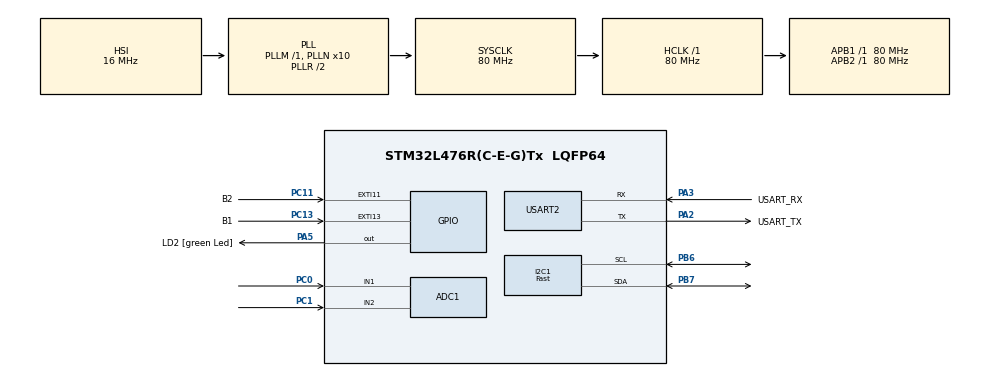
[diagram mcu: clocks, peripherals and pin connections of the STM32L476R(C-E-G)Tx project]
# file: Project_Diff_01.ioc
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ADC1.Channel-0\#ChannelRegularConversion=ADC_CHANNEL_1
ADC1.Channel-1\#ChannelRegularConversion=ADC_CHANNEL_1
ADC1.NbrOfConversion=2
ADC1.NbrOfConversionFlag=1
ADC1.OffsetNumber-0\#ChannelRegularConversion=ADC_OFFSET_NONE
ADC1.OffsetNumber-1\#ChannelRegularConversion=ADC_OFFSET_NONE
ADC1.Rank-0\#ChannelRegularConversion=1
ADC1.Rank-1\#ChannelRegularConversion=2
ADC1.SamplingTime-0\#ChannelRegularConversion=ADC_SAMPLETIME_2CYCLES_5
ADC1.SamplingTime-1\#ChannelRegularConversion=ADC_SAMPLETIME_2CYCLES_5
ADC1.SingleDiff-0\#ChannelRegularConversion=ADC_DIFFERENTIAL_ENDED
ADC1.SingleDiff-1\#ChannelRegularConversion=ADC_DIFFERENTIAL_ENDED
ADC1.master=1
Dma.I2C1_TX.0.Direction=DMA_MEMORY_TO_PERIPH
Dma.I2C1_TX.0.Instance=DMA1_Channel6
Dma.I2C1_TX.0.MemDataAlignment=DMA_MDATAALIGN_BYTE
Dma.I2C1_TX.0.MemInc=DMA_MINC_ENABLE
Dma.I2C1_TX.0.Mode=DMA_NORMAL
Dma.I2C1_TX.0.PeriphDataAlignment=DMA_PDATAALIGN_BYTE
Dma.I2C1_TX.0.PeriphInc=DMA_PINC_DISABLE
Dma.I2C1_TX.0.Priority=DMA_PRIORITY_LOW
Dma.Request0=I2C1_TX
I2C1.I2C_Speed_Mode=I2C_Fast
I2C1.Timing=0x00702991
Mcu.Family=STM32L4
Mcu.Name=STM32L476R(C-E-G)Tx
Mcu.Package=LQFP64
NVIC.DMA1_Channel6_IRQn=true\:0\:0\:false\:false\:true\:false\:true
NVIC.EXTI15_10_IRQn=true\:0\:0\:false\:false\:true\:true\:true
NVIC.I2C1_EV_IRQn=true\:0\:0\:false\:false\:true\:true\:true
NVIC.PriorityGroup=NVIC_PRIORITYGROUP_4
NVIC.TIM6_DAC_IRQn=true\:6\:0\:true\:false\:true\:true\:true
PA13\ (JTMS-SWDIO).GPIO_Label=TMS
PA13\ (JTMS-SWDIO).Mode=Serial_Wire
PA13\ (JTMS-SWDIO).Signal=SYS_JTMS-SWDIO
PA14\ (JTCK-SWCLK).GPIO_Label=TCK
PA14\ (JTCK-SWCLK).Mode=Serial_Wire
PA14\ (JTCK-SWCLK).Signal=SYS_JTCK-SWCLK
PA2.GPIO_Label=USART_TX
PA2.GPIO_Mode=GPIO_MODE_AF_PP
PA2.GPIO_PuPd=GPIO_NOPULL
PA2.GPIO_Speed=GPIO_SPEED_FREQ_VERY_HIGH
PA2.Mode=Asynchronous
PA2.Signal=USART2_TX
PA3.GPIO_Label=USART_RX
PA3.GPIO_Mode=GPIO_MODE_AF_PP
PA3.GPIO_PuPd=GPIO_NOPULL
PA3.GPIO_Speed=GPIO_SPEED_FREQ_VERY_HIGH
PA3.Mode=Asynchronous
PA3.Signal=USART2_RX
PA5.GPIO_Label=LD2 [green Led]
PA5.GPIO_ModeDefaultOutputPP=GPIO_MODE_OUTPUT_PP
PA5.GPIO_PuPd=GPIO_NOPULL
PA5.GPIO_Speed=GPIO_SPEED_FREQ_LOW
PA5.Signal=GPIO_Output
PB3\ (JTDO-TRACESWO).GPIO_Label=SWO
PB3\ (JTDO-TRACESWO).Signal=SYS_JTDO-SWO
PB6.GPIO_Pu=GPIO_NOPULL
PB6.Mode=I2C
PB6.Signal=I2C1_SCL
PB7.Mode=I2C
PB7.Signal=I2C1_SDA
PC0.Signal=ADCx_IN1
PC1.Signal=ADCx_IN2
PC11.GPIO_Label=B2
PC11.GPIO_ModeDefaultEXTI=GPIO_MODE_IT_FALLING
PC11.Signal=GPXTI11
PC13.GPIO_Label=B1
PC13.GPIO_ModeDefaultEXTI=GPIO_MODE_IT_FALLING
PC13.GPIO_PuPd=GPIO_NOPULL
PC13.Signal=GPXTI13
PC14-OSC32_IN\ (PC14).Mode=LSE-External-Oscillator
PC14-OSC32_IN\ (PC14).Signal=RCC_OSC32_IN
PC15-OSC32_OUT\ (PC15).Mode=LSE-External-Oscillator
PC15-OSC32_OUT\ (PC15).Signal=RCC_OSC32_OUT
PH0-OSC_IN\ (PH0).Signal=RCC_OSC_IN
PH1-OSC_OUT\ (PH1).Signal=RCC_OSC_OUT
ProjectManager.HeapSize=0x200
ProjectManager.StackSize=0x400
ProjectManager.TargetToolchain=STM32CubeIDE
RCC.ADCFreq_Value=64000000
RCC.AHBFreq_Value=80000000
RCC.APB1Freq_Value=80000000
RCC.APB1TimFreq_Value=80000000
RCC.APB2Freq_Value=80000000
RCC.APB2TimFreq_Value=80000000
RCC.CortexFreq_Value=80000000
RCC.HCLKFreq_Value=80000000
RCC.HSE_VALUE=8000000
RCC.HSI_VALUE=16000000
RCC.MSI_VALUE=4000000
RCC.PLLN=10
RCC.PLLSourceVirtual=RCC_PLLSOURCE_HSI
RCC.PREFETCH_ENABLE=1
RCC.SYSCLKFreq_VALUE=80000000
RCC.SYSCLKSource=RCC_SYSCLKSOURCE_PLLCLK
RCC.USBFreq_Value=64000000
RCC.VCOOutputFreq_Value=160000000
SH.ADCx_IN1.0=ADC1_IN1,IN1-Differential
SH.ADCx_IN2.0=ADC1_IN2,IN1-Differential
TIM6.Period=9999
TIM6.Prescaler=7999
USART2.VirtualMode-Asynchronous=VM_ASYNC
VP_TIM6_VS_ClockSourceINT.Mode=Enable_Timer
board=NUCLEO-L476RG

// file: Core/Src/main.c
/* USER CODE BEGIN Header */
/**
  ******************************************************************************
  * @file           : main.c
  * @brief          : Main program body
  ******************************************************************************
  * @attention
  * PMIK 2021Z Projekt
  * Maksym Khachapuridze
  *
  * Opis projektu:
  *
  * Projekt magnetometru
  * Układ sluzy do wykonywania i rejestracji pola magnetycznego.
  * Zostanie zrealizowany w przenosnej formie przy pomocy mikrokontrolera stm32L476RG.
  * Uklad wykonuje pomiar pola magnetycznego metodą pomiarową różnicową i wyswietla wyniki na zywo na ekranie.
  * Posiada rowniez mozliwosc przeslania zebranych pomiarow do komputera za pomocą interfejsu UART
  * pomiar można zatrzymać opcją pauzy oraz wyczyścić zapisane dane.
  * Sterowanie ukłądem jest oparte na 2 przyciskach
  *
  *
  *
  *
  * <h2><center>&copy; Copyright (c) 2022 STMicroelectronics.
  * All rights reserved.</center></h2>
  *
  * This software component is licensed by ST under BSD 3-Clause license,
  * the "License"; You may not use this file except in compliance with the
  * License. You may obtain a copy of the License at:
  *                        opensource.org/licenses/BSD-3-Clause
  *
  ******************************************************************************
  */
/* USER CODE END Header */
#include "main.h"
#include "adc.h"
#include "dma.h"
#include "i2c.h"
#include "tim.h"
#include "usart.h"
#include "gpio.h"

/* USER CODE BEGIN Includes */
#include <stdio.h>
#include "../Inc/Pomiar.h"
#include "../Inc/ADC_Pomiary.h"
#include "GFX.h"
#include "displayManager.h"
#include  "ZapisLog.h"
/* USER CODE END Includes */

void SystemClock_Config(void);

/* USER CODE BEGIN 0 */
#define LINE_MAX_LENGTH	80

/* przeciazenie funkcji printf
 * pozwala na latwe wyswietlenie wyniku za pomoca interfejsu UART na komputerze
*/

/**
 * @brief inicjalizacja obiektu przechowywujacego pola z wynikami pomiarow
 *
 */
	ADC_pomiary czujnik;
    ADC_pomiary *cptr=&czujnik;
/**
 * @brief flagi pomocnicze
 *
 */
    bool isRunning=0;
    bool isPushed=0;

/* USER CODE END 0 */

int main(void)
{

  /* MCU Configuration--------------------------------------------------------*/

  /* Reset of all peripherals, Initializes the Flash interface and the Systick. */
  HAL_Init();

  /* Configure the system clock */
  SystemClock_Config();

  /* Initialize all configured peripherals */
  MX_GPIO_Init();
  MX_USART2_UART_Init();
  MX_ADC1_Init();
  MX_DMA_Init();
  MX_I2C1_Init();
  MX_TIM6_Init();
  /* USER CODE BEGIN 2 */
  SSD1306_init();
  /* USER CODE END 2 */

  /* Infinite loop */
  /* USER CODE BEGIN WHILE */
/**
 * @brief Construct a new hal adcex calibration start object
 * roznicowa kalibracja przetwornika
 */
HAL_ADCEx_Calibration_Start(&hadc1,ADC_DIFFERENTIAL_ENDED);
HAL_TIM_Base_Start_IT(&htim6);

displayWelcome();
  while (1)
  {

    /* USER CODE END WHILE */

  }
}

void SystemClock_Config(void)
{
  RCC_OscInitTypeDef RCC_OscInitStruct = {0};
  RCC_ClkInitTypeDef RCC_ClkInitStruct = {0};

  /** Configure the main internal regulator output voltage
  */
  if (HAL_PWREx_ControlVoltageScaling(PWR_REGULATOR_VOLTAGE_SCALE1) != HAL_OK)
  {
    Error_Handler();
  }
  /** Initializes the RCC Oscillators according to the specified parameters
  * in the RCC_OscInitTypeDef structure.
  */
  RCC_OscInitStruct.OscillatorType = RCC_OSCILLATORTYPE_HSI;
  RCC_OscInitStruct.HSIState = RCC_HSI_ON;
  RCC_OscInitStruct.HSICalibrationValue = RCC_HSICALIBRATION_DEFAULT;
  RCC_OscInitStruct.PLL.PLLState = RCC_PLL_ON;
  RCC_OscInitStruct.PLL.PLLSource = RCC_PLLSOURCE_HSI;
  RCC_OscInitStruct.PLL.PLLM = 1;
  RCC_OscInitStruct.PLL.PLLN = 10;
  RCC_OscInitStruct.PLL.PLLP = RCC_PLLP_DIV7;
  RCC_OscInitStruct.PLL.PLLQ = RCC_PLLQ_DIV2;
  RCC_OscInitStruct.PLL.PLLR = RCC_PLLR_DIV2;
  if (HAL_RCC_OscConfig(&RCC_OscInitStruct) != HAL_OK)
  {
    Error_Handler();
  }
  /** Initializes the CPU, AHB and APB buses clocks
  */
  RCC_ClkInitStruct.ClockType = RCC_CLOCKTYPE_HCLK|RCC_CLOCKTYPE_SYSCLK
                              |RCC_CLOCKTYPE_PCLK1|RCC_CLOCKTYPE_PCLK2;
  RCC_ClkInitStruct.SYSCLKSource = RCC_SYSCLKSOURCE_PLLCLK;
  RCC_ClkInitStruct.AHBCLKDivider = RCC_SYSCLK_DIV1;
  RCC_ClkInitStruct.APB1CLKDivider = RCC_HCLK_DIV1;
  RCC_ClkInitStruct.APB2CLKDivider = RCC_HCLK_DIV1;

  if (HAL_RCC_ClockConfig(&RCC_ClkInitStruct, FLASH_LATENCY_4) != HAL_OK)
  {
    Error_Handler();
  }
}

/* USER CODE BEGIN 4 */

/**
 * @brief function HAL_TIM_PeriodElapsedCallback
 * Obsluga przerwania licznika
 * licznik ten steruje czestotliwoscia wykonania pomiaru
 *
 * @param htim wskaznik na strukture timera
 */
void HAL_TIM_PeriodElapsedCallback(TIM_HandleTypeDef *htim)
{
  if (htim == &htim6) {
	  if(isRunning!=0){
	  HAL_GPIO_TogglePin(LD2_GPIO_Port, LD2_Pin); //debug Led
	  WykonajPomiar(cptr);
	  }
  }
}

/*
 * function HAL_GPIO_EXTI_Callback
 * Obsluga przerwan przycisku
 * (wlacza pomiar albo go pauzuje)
 *
 */

/**
 * @brief function HAL_GPIO_EXTI_Callback
 * Obsluga przerwan przycisku
 * (wlacza pomiar albo go pauzuje)
 *
 * @param GPIO_Pin
 */
void HAL_GPIO_EXTI_Callback(uint16_t GPIO_Pin){
	//Blue button- Start/Pause
	if(GPIO_Pin==B1_Pin){

		if(isRunning==0){ isRunning=1;
		removePause();
		}
		else{ 	isRunning = 0;
		displayPause();
		}
	}
//przycisk do wyzwalania przesylu bufora z wynikami
	if(GPIO_Pin==B2_Pin){
		if(isRunning==1){// przeslanie bufora
			isPushed=1;
			SaveLog(czujnik.Bufor);
		}
		else if(isRunning==0){// klikniecie jesli pomiar w stanie pauzy- czysci bufor
			ClearBufor(czujnik.Bufor);

		}

	}

}
/* USER CODE END 4 */

void Error_Handler(void)
{
  __disable_irq();
  while (1)
  {
  }
}

/************************ (C) COPYRIGHT STMicroelectronics *****END OF FILE****/
